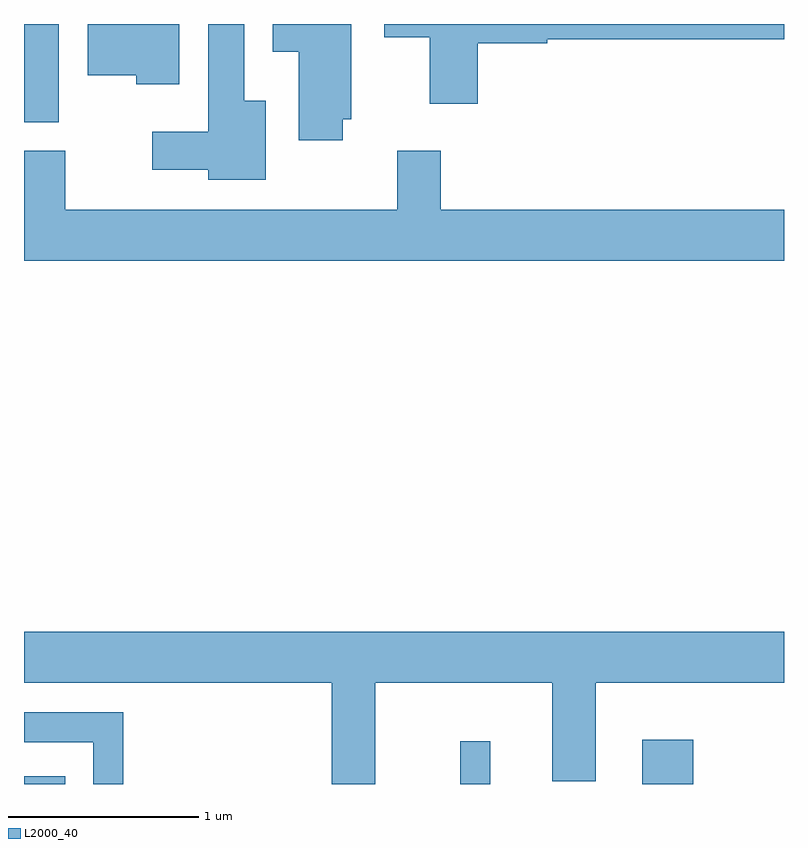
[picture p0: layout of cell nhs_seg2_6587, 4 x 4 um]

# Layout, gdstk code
import gdstk
lib = gdstk.Library(unit=1e-6, precision=1e-09)
def R(c, l, rs):  # rectangles x0, y0, x1, y1
    for r in rs: c.add(gdstk.rectangle(r[:2], r[2:], *l))
def P(c, l, *ps):  # polygons
    for p in ps: c.add(gdstk.Polygon(p, *l))
L2000_40 = (2000, 40)

nhs_seg2_6587 = lib.new_cell('nhs_seg2_6587')
R(nhs_seg2_6587, L2000_40, [(379.611,1027.802,379.828,1027.844), (381.906,1027.802,382.064,1028.027), (382.866,1027.802,383.134,1028.034), (379.611,1031.286,379.794,1031.802)])
P(nhs_seg2_6587, L2000_40, [(380.884,1031.399),(380.769,1031.399),(380.769,1031.802),(380.581,1031.802),(380.581,1031.234),(380.286,1031.234),(380.286,1031.036),(380.581,1031.036),(380.581,1030.981),(380.884,1030.981)],
  [(381.289,1031.301),(381.334,1031.301),(381.334,1031.802),(380.921,1031.802),(380.921,1031.656),(381.056,1031.656),(381.056,1031.191),(381.289,1031.191)],
  [(380.429,1031.802),(379.946,1031.802),(379.946,1031.531),(380.201,1031.531),(380.201,1031.486),(380.429,1031.486)],
  [(381.999,1031.701),(382.364,1031.701),(382.364,1031.721),(383.611,1031.721),(383.611,1031.802),(381.506,1031.802),(381.506,1031.731),(381.746,1031.731),(381.746,1031.381),(381.999,1031.381)],
  [(383.611,1030.824),(381.804,1030.824),(381.804,1031.134),(381.576,1031.134),(381.576,1030.824),(379.829,1030.824),(379.829,1031.134),(379.611,1031.134),(379.611,1030.556),(383.611,1030.556)],
  [(381.459,1028.336),(382.391,1028.336),(382.391,1027.816),(382.619,1027.816),(382.619,1028.336),(383.611,1028.336),(383.611,1028.604),(379.611,1028.604),(379.611,1028.336),(381.231,1028.336),(381.231,1027.802),(381.459,1027.802)],
  [(380.134,1028.179),(379.611,1028.179),(379.611,1028.021),(379.976,1028.021),(379.976,1027.802),(380.134,1027.802)])

lib.write_gds('nhs_seg2_6587.gds')
